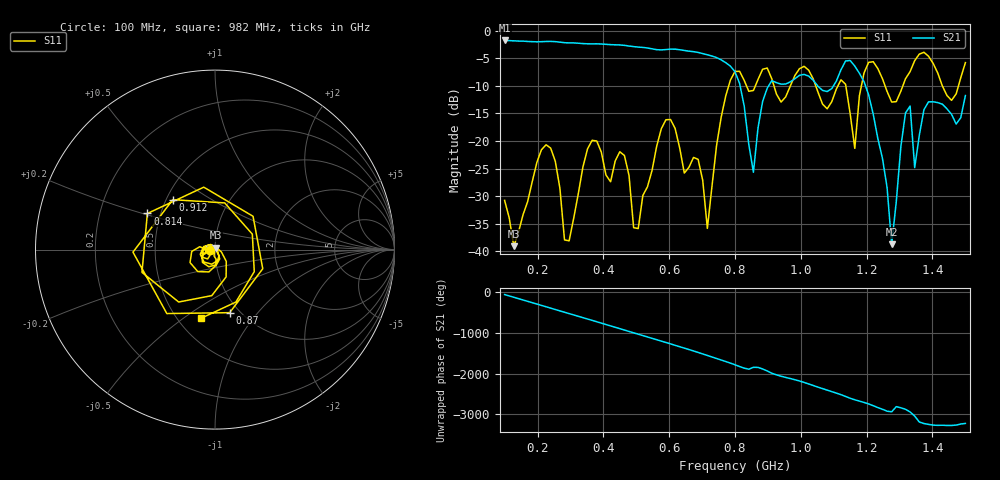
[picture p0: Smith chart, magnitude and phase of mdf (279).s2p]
! NanoVNA-App
! Date: 2025-09-25 15:40:35
! Start: 100MHz Stop: 1,5GHz Points: 101
! S-Parameter data: F S11 S21 S12 S22
# Hz S RI R 50
!  Frequency  S11_Real  S11_Imag  S21_Real  S21_Imag  S12_Real  S12_Imag  S22_Real  S22_Imag
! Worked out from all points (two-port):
!   101 points, 100 MHz to 1.5 GHz, reference 50 ohm
!   highest |S21| = -1.80 dB at 100 MHz (marker M1); lowest = -38.7 dB at 1.276 GHz (marker M2)
!   |S21| within 3 dB of the highest: start of sweep to 739.1 MHz
!   lowest |S11| = -39.0 dB at 128 MHz (marker M3), VSWR 1.02, Z = 50.3 + j1.07 ohm
!   |S11| at or under -10 dB: start of sweep to 781 MHz; 918.3 MHz to 968.4 MHz (50.08 MHz wide, 5.31 % of centre); 1.045 GHz to 1.113 GHz (67.71 MHz wide, 6.27 % of centre)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
!   S12 and S22 are empty: the file has one direction only
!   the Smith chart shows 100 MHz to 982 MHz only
!   S11 on the Smith chart (normalised r, x): 100 MHz: 0.94, -0.01; 814 MHz: 0.42, +0.21; 870 MHz: 0.90, -0.73; 912 MHz: 0.54, +0.35; 982 MHz: 0.64, -0.58
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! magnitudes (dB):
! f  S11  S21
! 100 MHz  -30.7  -1.8
! 128 MHz  -39.0  -1.9
! 212 MHz  -21.6  -2.0
! 282 MHz  -37.9  -2.2
! 338 MHz  -24.7  -2.4
! 464 MHz  -22.6  -2.7
! 506 MHz  -35.8  -3.0
! 576 MHz  -17.8  -3.5
! 716 MHz  -35.8  -4.4
! 800 MHz  -7.4  -7.5
! 814 MHz  -7.4  -9.6
! 856 MHz  -10.9  -25.7
! 870 MHz  -8.9  -17.6
! 912 MHz  -8.8  -9.1
! 982 MHz  -8.1  -8.7
! 1.038 GHz  -8.8  -9.0
! 1.164 GHz  -21.3  -6.4
! 1.192 GHz  -7.7  -9.3
! 1.276 GHz  -12.9  -38.7
! 1.318 GHz  -8.7  -14.9
! 1.346 GHz  -5.4  -24.8
! 1.5 GHz  -5.8  -11.8
